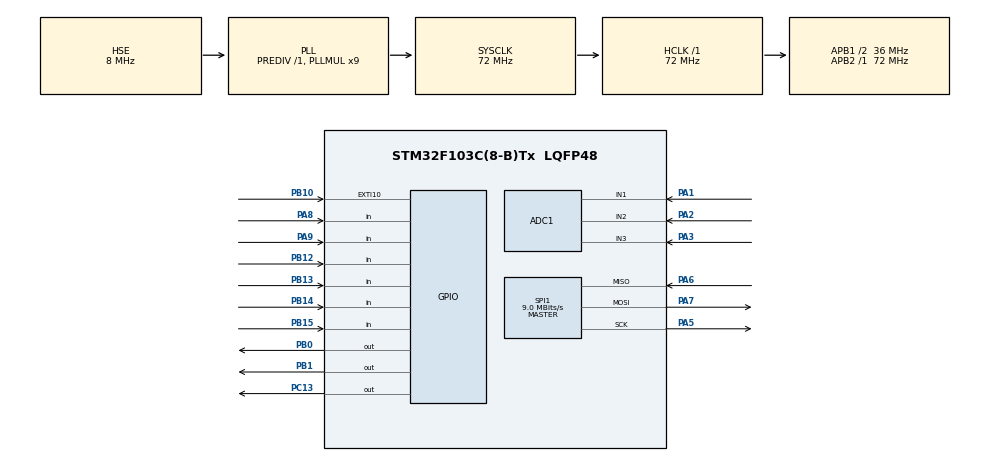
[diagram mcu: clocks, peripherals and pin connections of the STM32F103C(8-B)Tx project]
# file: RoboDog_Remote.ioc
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ADC1.Channel-17\#ChannelRegularConversion=ADC_CHANNEL_1
ADC1.Channel-18\#ChannelRegularConversion=ADC_CHANNEL_2
ADC1.Channel-19\#ChannelRegularConversion=ADC_CHANNEL_3
ADC1.Channel-20\#ChannelRegularConversion=ADC_CHANNEL_VREFINT
ADC1.ContinuousConvMode=ENABLE
ADC1.NbrOfConversion=4
ADC1.NbrOfConversionFlag=1
ADC1.Rank-17\#ChannelRegularConversion=1
ADC1.Rank-18\#ChannelRegularConversion=2
ADC1.Rank-19\#ChannelRegularConversion=3
ADC1.Rank-20\#ChannelRegularConversion=4
ADC1.SamplingTime-17\#ChannelRegularConversion=ADC_SAMPLETIME_239CYCLES_5
ADC1.SamplingTime-18\#ChannelRegularConversion=ADC_SAMPLETIME_239CYCLES_5
ADC1.SamplingTime-19\#ChannelRegularConversion=ADC_SAMPLETIME_239CYCLES_5
ADC1.SamplingTime-20\#ChannelRegularConversion=ADC_SAMPLETIME_239CYCLES_5
ADC1.master=1
Dma.ADC1.0.Direction=DMA_PERIPH_TO_MEMORY
Dma.ADC1.0.Instance=DMA1_Channel1
Dma.ADC1.0.MemDataAlignment=DMA_MDATAALIGN_HALFWORD
Dma.ADC1.0.MemInc=DMA_MINC_ENABLE
Dma.ADC1.0.Mode=DMA_CIRCULAR
Dma.ADC1.0.PeriphDataAlignment=DMA_PDATAALIGN_HALFWORD
Dma.ADC1.0.PeriphInc=DMA_PINC_DISABLE
Dma.ADC1.0.Priority=DMA_PRIORITY_LOW
Dma.Request0=ADC1
Mcu.Family=STM32F1
Mcu.Name=STM32F103C(8-B)Tx
Mcu.Package=LQFP48
NVIC.DMA1_Channel1_IRQn=true\:0\:0\:false\:false\:true\:false
NVIC.EXTI15_10_IRQn=true\:0\:0\:false\:false\:true\:true
NVIC.PriorityGroup=NVIC_PRIORITYGROUP_4
PA1.Signal=ADCx_IN1
PA13.Mode=Serial_Wire
PA13.Signal=SYS_JTMS-SWDIO
PA14.Mode=Serial_Wire
PA14.Signal=SYS_JTCK-SWCLK
PA2.Signal=ADCx_IN2
PA3.Signal=ADCx_IN3
PA5.Mode=Full_Duplex_Master
PA5.Signal=SPI1_SCK
PA6.Mode=Full_Duplex_Master
PA6.Signal=SPI1_MISO
PA7.Mode=Full_Duplex_Master
PA7.Signal=SPI1_MOSI
PA8.GPIO_PuPd=GPIO_PULLDOWN
PA8.Signal=GPIO_Input
PA9.GPIO_PuPd=GPIO_PULLDOWN
PA9.Signal=GPIO_Input
PB0.Signal=GPIO_Output
PB1.Signal=GPIO_Output
PB10.Signal=GPXTI10
PB12.GPIO_PuPd=GPIO_PULLDOWN
PB12.Signal=GPIO_Input
PB13.GPIO_PuPd=GPIO_PULLDOWN
PB13.Signal=GPIO_Input
PB14.GPIO_PuPd=GPIO_PULLDOWN
PB14.Signal=GPIO_Input
PB15.GPIO_PuPd=GPIO_PULLDOWN
PB15.Signal=GPIO_Input
PC13-TAMPER-RTC.Signal=GPIO_Output
PD0-OSC_IN.Mode=HSE-External-Oscillator
PD0-OSC_IN.Signal=RCC_OSC_IN
PD1-OSC_OUT.Mode=HSE-External-Oscillator
PD1-OSC_OUT.Signal=RCC_OSC_OUT
ProjectManager.HeapSize=0x200
ProjectManager.StackSize=0x400
ProjectManager.TargetToolchain=MDK-ARM V5
RCC.ADCPresc=RCC_ADCPCLK2_DIV6
RCC.AHBFreq_Value=72000000
RCC.APB1CLKDivider=RCC_HCLK_DIV2
RCC.APB1Freq_Value=36000000
RCC.APB1TimFreq_Value=72000000
RCC.APB2Freq_Value=72000000
RCC.APB2TimFreq_Value=72000000
RCC.HCLKFreq_Value=72000000
RCC.PLLMUL=RCC_PLL_MUL9
RCC.PLLSourceVirtual=RCC_PLLSOURCE_HSE
RCC.SYSCLKFreq_VALUE=72000000
RCC.SYSCLKSource=RCC_SYSCLKSOURCE_PLLCLK
RCC.USBFreq_Value=72000000
SH.ADCx_IN1.0=ADC1_IN1,IN1
SH.ADCx_IN2.0=ADC1_IN2,IN2
SH.ADCx_IN3.0=ADC1_IN3,IN3
SPI1.BaudRatePrescaler=SPI_BAUDRATEPRESCALER_8
SPI1.CalculateBaudRate=9.0 MBits/s
SPI1.Direction=SPI_DIRECTION_2LINES
SPI1.Mode=SPI_MODE_MASTER
SPI1.VirtualType=VM_MASTER
VP_ADC1_Vref_Input.Mode=IN-Vrefint
board=custom

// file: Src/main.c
/* USER CODE BEGIN Header */
/**
  ******************************************************************************
  * @file           : main.c
  * @brief          : Main program body
  ******************************************************************************
  ** This notice applies to any and all portions of this file
  * that are not between comment pairs USER CODE BEGIN and
  * USER CODE END. Other portions of this file, whether
  * inserted by the user or by software development tools
  * are owned by their respective copyright owners.
  *
  * COPYRIGHT(c) 2019 STMicroelectronics
  *
  * Redistribution and use in source and binary forms, with or without modification,
  * are permitted provided that the following conditions are met:
  *   1. Redistributions of source code must retain the above copyright notice,
  *      this list of conditions and the following disclaimer.
  *   2. Redistributions in binary form must reproduce the above copyright notice,
  *      this list of conditions and the following disclaimer in the documentation
  *      and/or other materials provided with the distribution.
  *   3. Neither the name of STMicroelectronics nor the names of its contributors
  *      may be used to endorse or promote products derived from this software
  *      without specific prior written permission.
  *
  * THIS SOFTWARE IS PROVIDED BY THE COPYRIGHT HOLDERS AND CONTRIBUTORS "AS IS"
  * AND ANY EXPRESS OR IMPLIED WARRANTIES, INCLUDING, BUT NOT LIMITED TO, THE
  * IMPLIED WARRANTIES OF MERCHANTABILITY AND FITNESS FOR A PARTICULAR PURPOSE ARE
  * DISCLAIMED. IN NO EVENT SHALL THE COPYRIGHT HOLDER OR CONTRIBUTORS BE LIABLE
  * FOR ANY DIRECT, INDIRECT, INCIDENTAL, SPECIAL, EXEMPLARY, OR CONSEQUENTIAL
  * DAMAGES (INCLUDING, BUT NOT LIMITED TO, PROCUREMENT OF SUBSTITUTE GOODS OR
  * SERVICES; LOSS OF USE, DATA, OR PROFITS; OR BUSINESS INTERRUPTION) HOWEVER
  * CAUSED AND ON ANY THEORY OF LIABILITY, WHETHER IN CONTRACT, STRICT LIABILITY,
  * OR TORT (INCLUDING NEGLIGENCE OR OTHERWISE) ARISING IN ANY WAY OUT OF THE USE
  * OF THIS SOFTWARE, EVEN IF ADVISED OF THE POSSIBILITY OF SUCH DAMAGE.
  *
  ******************************************************************************
  */
/* USER CODE END Header */

#include "main.h"
#include "adc.h"
#include "dma.h"
#include "spi.h"
#include "gpio.h"

/* USER CODE BEGIN Includes */
#include "nrf24l01.h"
/* USER CODE END Includes */

/* USER CODE BEGIN PV */
uint16_t adc_data[4];
float voltage_ref;
struct
{
	int left_x;
	int right_x;
	int right_y;
	int key_1;
	int key_2;
	int key_3;
	int key_4;
	int key_5;
	int key_6;
} remote;
int transmit_status = 0;
uint8_t tmp_buf[9] = {0};
/* USER CODE END PV */

void SystemClock_Config(void);

int main(void)
{

  /* MCU Configuration--------------------------------------------------------*/

  /* Reset of all peripherals, Initializes the Flash interface and the Systick. */
  HAL_Init();

  /* Configure the system clock */
  SystemClock_Config();

  /* Initialize all configured peripherals */
  MX_GPIO_Init();
  MX_DMA_Init();
  MX_SPI1_Init();
  MX_ADC1_Init();
  /* USER CODE BEGIN 2 */
	HAL_ADC_Start_DMA(&hadc1, (uint32_t *)adc_data, 4);
	while(NRF24L01_Check()){};
	NRF24L01_TX_Mode();
  /* USER CODE END 2 */

  /* Infinite loop */
  while (1)
  {

    /* USER CODE BEGIN 3 */
		static int count = 0;
		count++;
		if(count == 10)
		{
			HAL_GPIO_TogglePin(GPIOC, GPIO_PIN_13);
			count = 0;
		}

		// 更新遥控器按键数据
    remote.key_1 = HAL_GPIO_ReadPin(GPIOB, GPIO_PIN_13);
		remote.key_2 = HAL_GPIO_ReadPin(GPIOB, GPIO_PIN_14);
		remote.key_3 = HAL_GPIO_ReadPin(GPIOB, GPIO_PIN_12);
		remote.key_4 = HAL_GPIO_ReadPin(GPIOB, GPIO_PIN_15);
		remote.key_5 = HAL_GPIO_ReadPin(GPIOA, GPIO_PIN_8);
		remote.key_6 = HAL_GPIO_ReadPin(GPIOA, GPIO_PIN_9);

		tmp_buf[0] = remote.left_x;
		tmp_buf[1] = remote.right_x;
		tmp_buf[2] = remote.right_y;
		tmp_buf[3] = remote.key_1;
		tmp_buf[4] = remote.key_2;
		tmp_buf[5] = remote.key_3;
		tmp_buf[6] = remote.key_4;
		tmp_buf[7] = remote.key_5;
		tmp_buf[8] = remote.key_6;

		// 发送遥控器指令
    transmit_status = NRF24L01_TxPacket(tmp_buf);

		HAL_Delay(1);
  }
  /* USER CODE END 3 */
}

void SystemClock_Config(void)
{
  RCC_OscInitTypeDef RCC_OscInitStruct = {0};
  RCC_ClkInitTypeDef RCC_ClkInitStruct = {0};
  RCC_PeriphCLKInitTypeDef PeriphClkInit = {0};

  /**Initializes the CPU, AHB and APB busses clocks
  */
  RCC_OscInitStruct.OscillatorType = RCC_OSCILLATORTYPE_HSE;
  RCC_OscInitStruct.HSEState = RCC_HSE_ON;
  RCC_OscInitStruct.HSEPredivValue = RCC_HSE_PREDIV_DIV1;
  RCC_OscInitStruct.HSIState = RCC_HSI_ON;
  RCC_OscInitStruct.PLL.PLLState = RCC_PLL_ON;
  RCC_OscInitStruct.PLL.PLLSource = RCC_PLLSOURCE_HSE;
  RCC_OscInitStruct.PLL.PLLMUL = RCC_PLL_MUL9;
  if (HAL_RCC_OscConfig(&RCC_OscInitStruct) != HAL_OK)
  {
    Error_Handler();
  }
  /**Initializes the CPU, AHB and APB busses clocks
  */
  RCC_ClkInitStruct.ClockType = RCC_CLOCKTYPE_HCLK|RCC_CLOCKTYPE_SYSCLK
                              |RCC_CLOCKTYPE_PCLK1|RCC_CLOCKTYPE_PCLK2;
  RCC_ClkInitStruct.SYSCLKSource = RCC_SYSCLKSOURCE_PLLCLK;
  RCC_ClkInitStruct.AHBCLKDivider = RCC_SYSCLK_DIV1;
  RCC_ClkInitStruct.APB1CLKDivider = RCC_HCLK_DIV2;
  RCC_ClkInitStruct.APB2CLKDivider = RCC_HCLK_DIV1;

  if (HAL_RCC_ClockConfig(&RCC_ClkInitStruct, FLASH_LATENCY_2) != HAL_OK)
  {
    Error_Handler();
  }
  PeriphClkInit.PeriphClockSelection = RCC_PERIPHCLK_ADC;
  PeriphClkInit.AdcClockSelection = RCC_ADCPCLK2_DIV6;
  if (HAL_RCCEx_PeriphCLKConfig(&PeriphClkInit) != HAL_OK)
  {
    Error_Handler();
  }
}

/* USER CODE BEGIN 4 */
// 更新遥控器摇杆数据
void HAL_ADC_ConvCpltCallback(ADC_HandleTypeDef * hadc)
{
	float left_x,right_x,right_y,voltage_ref;
	left_x = (float)adc_data[0]/4096*3.3;
	right_x = (float)adc_data[1]/4096*3.3;
	right_y = (float)adc_data[2]/4096*3.3;
	voltage_ref = (float)adc_data[3]/4096*3.3;

	left_x *= 1.2/voltage_ref;
	right_x *= 1.2/voltage_ref;
	right_y *= 1.2/voltage_ref;

	remote.left_x = left_x*10;
	remote.right_x = right_x*10;
	remote.right_y = right_y*10;
}
/* USER CODE END 4 */

void Error_Handler(void)
{
}

/************************ (C) COPYRIGHT STMicroelectronics *****END OF FILE****/
